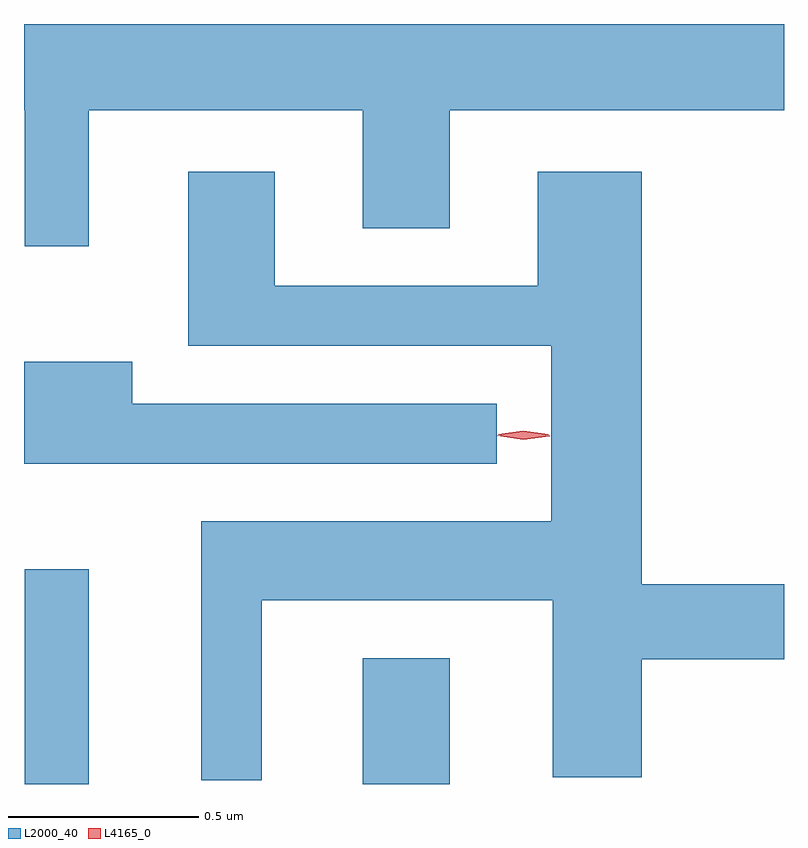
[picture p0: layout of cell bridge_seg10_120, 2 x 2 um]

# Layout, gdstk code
import gdstk
lib = gdstk.Library(unit=1e-6, precision=1e-09)
def R(c, l, rs):  # rectangles x0, y0, x1, y1
    for r in rs: c.add(gdstk.rectangle(r[:2], r[2:], *l))
def P(c, l, *ps):  # polygons
    for p in ps: c.add(gdstk.Polygon(p, *l))
L2000_40 = (2000, 40)
L4165_0 = (4165, 0)

bridge_seg10_120 = lib.new_cell('bridge_seg10_120')
R(bridge_seg10_120, L2000_40, [(1572.511,2154.323,1572.679,2154.888), (1573.401,2154.323,1573.629,2154.654)])
P(bridge_seg10_120, L2000_40, [(1572.679,2156.096),(1573.401,2156.096),(1573.401,2155.786),(1573.629,2155.786),(1573.629,2156.096),(1574.509,2156.096),(1574.509,2156.323),(1572.509,2156.323),(1572.509,2156.096),(1572.511,2156.096),(1572.511,2155.738),(1572.679,2155.738)],
  [(1573.134,2154.806),(1573.901,2154.806),(1573.901,2154.341),(1574.134,2154.341),(1574.134,2154.651),(1574.509,2154.651),(1574.509,2154.849),(1574.134,2154.849),(1574.134,2155.934),(1573.861,2155.934),(1573.861,2155.634),(1573.169,2155.634),(1573.169,2155.934),(1572.941,2155.934),(1572.941,2155.476),(1573.896,2155.476),(1573.896,2155.014),(1572.976,2155.014),(1572.976,2154.333),(1573.134,2154.333)],
  [(1573.753,2155.324),(1572.794,2155.324),(1572.794,2155.434),(1572.509,2155.434),(1572.509,2155.166),(1573.753,2155.166)])
P(bridge_seg10_120, L4165_0, [(1573.823,2155.229),(1573.754,2155.239),(1573.753,2155.24),(1573.754,2155.24),(1573.823,2155.249),(1573.892,2155.24),(1573.893,2155.239),(1573.892,2155.238)],
  [(1573.823,2155.232),(1573.757,2155.242),(1573.757,2155.242),(1573.757,2155.243),(1573.823,2155.252),(1573.889,2155.243),(1573.89,2155.242),(1573.889,2155.242)])

lib.write_gds('bridge_seg10_120.gds')
